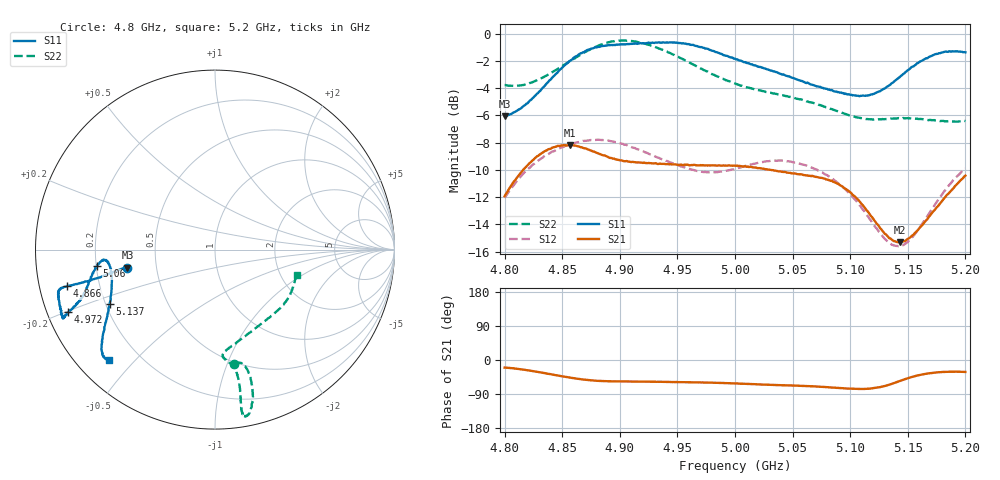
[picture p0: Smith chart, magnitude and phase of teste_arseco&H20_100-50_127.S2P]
! Network Analyzer HP8722D
! Hewlett-Packard
! Data name: Linha & Wilkinson
! Saver's name: Rodrigo Anjos
! Comments: Teste da utilização de aquisição
! continua pelo VNA HP8722D
! Time and date: 6/5/2025 13:37
!  Frequency  S11  S21  S12  S22
# HZ  S  MA R 50
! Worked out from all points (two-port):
!   401 points, 4.8 GHz to 5.2 GHz, reference 50 ohm
!   highest |S21| = -8.16 dB at 4.857 GHz (marker M1); lowest = -15.3 dB at 5.143 GHz (marker M2)
!   |S21| within 3 dB of the highest: 4.806 GHz to 5.092 GHz (286.3 MHz wide, 5.78 % of centre); 5.191386 GHz to end of sweep
!   lowest |S11| = -6.1 dB at 4.8 GHz (marker M3), VSWR 2.98, Z = 16.9 - j4.53 ohm
!   |S11| at or under -10 dB: nowhere
!   |S22| runs from -6.5 to -0.5 dB; largest |S21 - S12| = 0.62
!   S11 on the Smith chart (normalised r, x): 4.8 GHz: 0.34, -0.09; 4.866 GHz: 0.08, -0.12; 4.972 GHz: 0.06, -0.20; 5.06 GHz: 0.20, -0.07; 5.137 GHz: 0.22, -0.23; 5.2 GHz: 0.09, -0.42
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4.8e9  0.498 -168.3  0.2532 -19.9  0.2494 -141.2  0.6479 -80.4
4.828e9  0.6016 -167.3  0.3544 -31.0  0.339 -145.1  0.6751 -75.4
4.857e9  0.7969 -166.1  0.3908 -46.6  0.3923 -150.5  0.7934 -74.9
4.866e9  0.8474 -166.1  0.3829 -50.5  0.4021 -152.1  0.8371 -75.5
4.867e9  0.8489 -166.2  0.3829 -51.2  0.4024 -152.3  0.8428 -75.5
4.883e9  0.897 -165.4  0.3614 -55.3  0.4075 -155.0  0.9101 -77.3
4.901e9  0.9153 -162.5  0.3426 -56.6  0.395 -157.0  0.9446 -79.4
4.934e9  0.9289 -156.6  0.3327 -57.6  0.3501 -155.8  0.882 -80.5
4.949e9  0.9265 -155.6  0.3309 -58.0  0.3316 -153.1  0.8285 -80.1
4.972e9  0.8884 -156.8  0.3292 -59.2  0.3109 -146.4  0.7397 -79.8
5e9  0.8095 -159.3  0.3277 -62.0  0.3194 -137.4  0.6564 -81.3
5.036e9  0.7226 -165.9  0.3136 -66.1  0.3413 -134.6  0.601 -85.6
5.06e9  0.6648 -172.0  0.3025 -68.5  0.33 -136.3  0.5692 -84.3
5.067e9  0.6499 -173.3  0.3009 -69.3  0.3219 -137.0  0.558 -82.7
5.083e9  0.6203 -174.6  0.2881 -72.5  0.2964 -138.4  0.5296 -76.7
5.103e9  0.5944 -171.6  0.2545 -76.2  0.2491 -138.8  0.4975 -65.1
5.134e9  0.6466 -154.1  0.1773 -65.2  0.1704 -120.5  0.487 -43.2
5.137e9  0.6611 -152.5  0.1742 -62.2  0.1675 -116.6  0.4881 -41.5
5.143e9  0.6927 -149.4  0.1712 -55.5  0.1662 -108.8  0.4892 -38.0
5.154e9  0.7572 -144.6  0.1818 -44.5  0.1795 -95.0  0.4878 -32.3
5.175e9  0.8428 -138.6  0.2302 -32.8  0.2404 -80.1  0.4793 -23.4
5.2e9  0.854 -133.8  0.3012 -31.5  0.3197 -77.1  0.4777 -17.6
